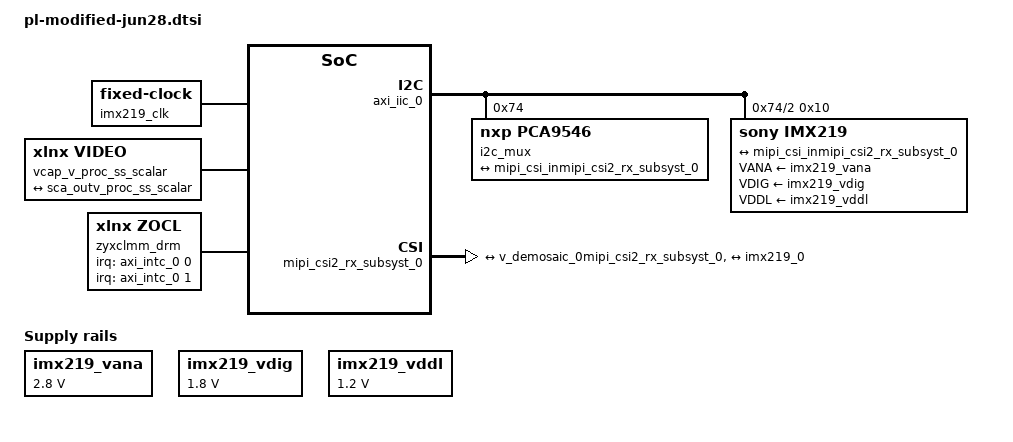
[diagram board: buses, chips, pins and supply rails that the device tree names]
/dts-v1/;
/plugin/;
&fpga_full {
	#address-cells = <2>;
	#size-cells = <2>;
	firmware-name = "kria_mipi_isp_platform_v1_2_j25.bit.bin";
	resets = <&zynqmp_reset 116>, <&zynqmp_reset 117>, <&zynqmp_reset 118>, <&zynqmp_reset 119>;
	};

&amba {	
	misc_clk_0: misc_clk_0 {
		clock-div = <1000>;
		compatible = "fixed-factor-clock";
		clock-mult = <2000>;
		clocks = <&zynqmp_clk 71>;
		#clock-cells = <0>;
	};
	misc_clk_1: misc_clk_1 {
		clock-div = <1000>;
		compatible = "fixed-factor-clock";
		clock-mult = <1000>;
		clocks = <&zynqmp_clk 71>;
		#clock-cells = <0>;
	};
	misc_clk_2: misc_clk_2 {
		clock-div = <1000>;
		compatible = "fixed-factor-clock";
		clock-mult = <1140>;
		clocks = <&zynqmp_clk 71>;
		#clock-cells = <0>;
	};
	clocking1: clocking1 {
		compatible = "xlnx,fclk";
		assigned-clocks = <&zynqmp_clk 72>;
		assigned-clock-rates = <99999001>;
		#clock-cells = <0>;
		clock-output-names = "fabric_clk";
		clocks = <&zynqmp_clk 72>;
	};
	clocking0: clocking0 {
		compatible = "xlnx,fclk";
		assigned-clocks = <&zynqmp_clk 71>;
		assigned-clock-rates = <99999001>;
		#clock-cells = <0>;
		clock-output-names = "fabric_clk";
		clocks = <&zynqmp_clk 71>;
	};
	
	
	
		imx219_clk:camera-clk {
				compatible = "fixed-clock";
				#clock-cells = <0>;
				clock-frequency = <24000000>;
			};
		
		imx219_vana: fixedregulator@3 {
			compatible = "regulator-fixed";
			regulator-name = "imx219_vana";
			regulator-min-microvolt = <2800000>;
			regulator-max-microvolt = <2800000>;
			enable-active-high;
		};

		imx219_vdig: fixedregulator@4 {
			compatible = "regulator-fixed";
			regulator-name = "imx219_vdig";
			regulator-min-microvolt = <1800000>;
			regulator-max-microvolt = <1800000>;
		};

		imx219_vddl: fixedregulator@5 {
			compatible = "regulator-fixed";
			regulator-name = "imx219_vddl";
			regulator-min-microvolt = <1200000>;
			regulator-max-microvolt = <1200000>;
		};	
	
	
	afi0: afi0 {
		compatible = "xlnx,afi-fpga";
		resets = <&zynqmp_reset 116>, <&zynqmp_reset 117>, <&zynqmp_reset 118>, <&zynqmp_reset 119>;
		config-afi = < 0 0>, <1 0>, <2 0>, <3 0>, <4 0>, <5 0>, <6 0>, <7 0>, <8 0>, <9 0>, <10 0>, <11 0>, <12 0>, <13 0>, <14 0xa00>, <15 0x000>;
	};



	axi_intc_0: interrupt-controller@80000000 {
		#interrupt-cells = <2>;
		interrupts = < 0 89 4 >;
		xlnx,sense-of-irq-edge-type = "Rising";
		xlnx,edk-special = "INTR_CTRL";
		xlnx,kind-of-intr = <0x0>;
		xlnx,kind-of-edge = <0xffffffff>;
		xlnx,irq-is-level = <1>;
		xlnx,has-ivr = <1>;
		compatible = "xlnx,axi-intc-4.1" , "xlnx,xps-intc-1.00.a";
		xlnx,disable-synchronizers = <0>;
		xlnx,kind-of-lvl = <0xffffffff>;
		xlnx,ivar-reset-value = <0x10>;
		xlnx,irq-active = <0x1>;
		interrupt-parent = <&gic>;
		xlnx,en-cascade-mode = <0>;
		xlnx,ip-name = "axi_intc";
		xlnx,has-ilr = <0>;
		reg = <0x0 0x80000000 0x0 0x10000>;
		xlnx,addr-width = <0x20>;
		clocks = <&misc_clk_0>;
		xlnx,s-axi-aclk-freq-mhz = <0xbebba30>;
		xlnx,num-sw-intr = <0>;
		xlnx,irq-connection = <1>;
		xlnx,num-intr-inputs = <0x5>;
		xlnx,has-sie = <1>;
		xlnx,enable-async = <0>;
		xlnx,has-cie = <1>;
		xlnx,num-sync-ff = <2>;
		xlnx,edk-iptype = "PERIPHERAL";
		xlnx,mb-clk-not-connected = <1>;
		xlnx,has-ipr = <1>;
		xlnx,sense-of-irq-level-type = "Active_High";
		xlnx,cascade-master = <0>;
		xlnx,processor-clk-freq-mhz = <100>;
		xlnx,is-fast = <0x0>;
		clock-names = "s_axi_aclk";
		xlnx,has-fast = <0>;
		xlnx,ivar-rst-val = <0x10>;
		interrupt-controller;
		interrupt-names = "irq";
		xlnx,async-intr = <0xffffffe1>;
		xlnx,name = "axi_intc_0";
	};
	axi_iic_0: i2c@80060000 {
		interrupts = < 4 2 >;
		xlnx,iic-freq-khz = <100>;
		compatible = "xlnx,axi-iic-2.1" , "xlnx,xps-iic-2.00.a";
		xlnx,scl-inertial-delay = <0>;
		interrupt-parent = <&axi_intc_0>;
		xlnx,ip-name = "axi_iic";
		xlnx,disable-setup-violation-check = <0>;
		reg = <0x0 0x80060000 0x0 0x10000>;
		clocks = <&misc_clk_0>;
		xlnx,gpo-width = <1>;
		xlnx,edk-iptype = "PERIPHERAL";
		xlnx,static-timing-reg-width = <0>;
		xlnx,sda-level = <1>;
		clock-names = "s_axi_aclk";
		xlnx,use-board-flow;
		xlnx,ten-bit-adr = <0>;
		xlnx,default-value = <0x0>;
		interrupt-names = "iic2intc_irpt";
		xlnx,iic-board-interface = "som240_1_connector_hda_iic_switch";
		xlnx,timing-reg-width = <32>;
		xlnx,iic-freq = <100000>;
		xlnx,smbus-pmbus-host = <0>;
		xlnx,name = "axi_iic_0";
		xlnx,axi-aclk-freq-mhz = <0xbebba30>;
		xlnx,sda-inertial-delay = <0>;
		
			i2c_mux: i2c-mux@74 {
			compatible = "nxp,pca9546";
			#address-cells = <1>;
			#size-cells = <0>;
			reg = <0x74>;

			i2c@2 {
				#address-cells = <1>;
				#size-cells = <0>;
				reg = <2>;
				imx219: sensor@10 {
					compatible = "sony,imx219";
					reg = <0x10>;
					clocks = <&imx219_clk>;
					VANA-supply = <&imx219_vana>;   /* 2.8v */
					VDIG-supply = <&imx219_vdig>;   /* 1.8v */
					VDDL-supply = <&imx219_vddl>;   /* 1.2v */
					//reset-gpios = <&axi_gpio 2 0 0>;

					port {
					     imx219_0: endpoint {
						remote-endpoint = <&mipi_csi_inmipi_csi2_rx_subsyst_0>;
						data-lanes = <1 2>;
						link-frequencies = /bits/ 64 <456000000>;
						};
					};
				};
			};
		};
	};
	mipi_csi2_rx_subsyst_0: mipi_csi2_rx_subsystem@80010000 {
		xlnx,data-lane2-byte = "All_Byte";
		xlnx,dpy-en-reg-if = <0>;
		xlnx,cmn-vc = <4>;
		xlnx,dphy-lanes = <2>;
		xlnx,ip-name = "mipi_csi2_rx_subsystem";
		reg = <0x0 0x80010000 0x0 0x1000>;
		xlnx,vfb-tu-width = <1>;
		xlnx,ppc = <2>;
		xlnx,csi-buf-depth = <4096>;
		xlnx,exdes-fmc = "LI-IMX274MIPI-FMC , V1.0 , Single , Sensor";
		xlnx,supportlevel = <1>;
		xlnx,clk-lane-io-loc-name = "IO_L13P_T2L_N0_GC_QBC_66";
		xlnx,max-lanes = <2>;
		xlnx,cmn-inc-iic = <0>;
		xlnx,clk-lane-io-loc = "D7";
		xlnx,esc-timeout = <25600>;
		interrupt-names = "csirxss_csi_irq";
		xlnx,cmn-inc-vfb;
		xlnx,axis-tuser-width = <96>;
		compatible = "xlnx,mipi-csi2-rx-subsystem-6.0" , "xlnx,mipi-csi2-rx-subsystem-5.0";
		xlnx,en-active-lanes;
		xlnx,idly-tap = <1>;
		xlnx,cmn-num-pixels = <2>;
		xlnx,cmn-proj-family = <1>;
		xlnx,csi2rx-dbg = <0>;
		xlnx,fifo-rd-en-control;
		xlnx,vfb;
		interrupt-parent = <&axi_intc_0>;
		xlnx,data-lane1-io-loc-name = "IO_L15P_T2L_N4_AD11P_66";
		xlnx,hs-timeout = <65541>;
		xlnx,data-lane3-io-loc-name = "None";
		xlnx,ext-mmcm = <0>;
		xlnx,data-lane1-byte = "All_Byte";
		xlnx,master-riu;
		xlnx,cal-mode = "NONE";
		xlnx,mipi-rx-phy-mode = <1>;
		xlnx,data-lane0-io-position = <28>;
		xlnx,exdes-board = "ZCU102";
		xlnx,use-board-flow;
		xlnx,data-lane2-io-position = <6>;
		xlnx,vc = <4>;
		xlnx,en-vcx = <0>;
		xlnx,name = "mipi_csi2_rx_subsyst_0";
		xlnx,csi-emb-non-img = <0>;
		interrupts = < 0 2 >;
		xlnx,dphyrx-board-interface = "som240_1_connector_mipi_csi_raspi";
		xlnx,data-lane3-io-loc = "None";
		xlnx,clock-mask = <39>;
		xlnx,hs-settle-ns = <145>;
		clocks = <&misc_clk_0>, <&misc_clk_1>, <&misc_clk_0>;
		xlnx,data-lane2-io-loc = "None";
		xlnx,mipi-slv-int = <0>;
		xlnx,cmn-fifo-rd-en-cntrl;
		xlnx,data-lane3-byte = "All_Byte";
		xlnx,stretch-line-rate = <4500>;
		xlnx,axis-tdest-width = <4>;
		xlnx,phy-mode = "DPHY";
		xlnx,en-csi-v2 = <0>;
		xlnx,edk-iptype = "PERIPHERAL";
		xlnx,init = <100000>;
		xlnx,cmn-pxl-format = <0x2b>;
		xlnx,int-qor-check = <0>;
		clock-names = "dphy_clk_200M" , "lite_aclk" , "video_aclk";
		xlnx,data-lane1-io-loc = "G6";
		xlnx,data-lane0-byte = "All_Byte";
		xlnx,ooc-vid-clk = <0x65b710>;
		csirx-present = <1>;
		xlnx,yuv420-buf-dpth = <128>;
		xlnx,hp-io-bank-selection = <66>;
		xlnx,idly-group-name = "mipi_csi2rx_idly_group";
		xlnx,lprx-disable-extport = <0>;
		xlnx,highaddr = <0x80010fff>;
		xlnx,cmn-num-lanes = <2>;
		xlnx,exdes-config = "MIPI_Video_Pipe_Camera_to_Display";
		xlnx,exdesboard-version = <2>;
		xlnx,dphy-preset = "CSI2RX_XLNX";
		xlnx,data-lane0-io-loc-name = "IO_L14P_T2L_N2_GC_66";
		xlnx,csi-pxl-format = <0x2b>;
		xlnx,clk-lane-io-position = <26>;
		xlnx,data-lane2-io-loc-name = "None";
		xlnx,data-lane0-io-loc = "E5";
		xlnx,inc-phy;
		xlnx,hs-line-rate = <800>;
		xlnx,dpy-line-rate = <912>;
		xlnx,csi-en-crc = <1>;
		xlnx,axis-tdata-width = <32>;
		xlnx,csi-controller-reg-if;
		xlnx,data-lane1-io-position = <30>;
		xlnx,dphy-mode = "SLAVE";
		xlnx,data-lane3-io-position = <8>;
		mipi_csi_portsmipi_csi2_rx_subsyst_0: ports {
			#address-cells = <1>;
			#size-cells = <0>;
			mipi_csi_port1mipi_csi2_rx_subsyst_0: port@1 {
				xlnx,video-width = <10>;
				reg = <1>;
				//xlnx,video-format = <12>;
				//xlnx,cfa-pattern = "rggb";
				mipi_csirx_outmipi_csi2_rx_subsyst_0: endpoint {
					remote-endpoint = <&v_demosaic_0mipi_csi2_rx_subsyst_0>;
				};
			};
			mipi_csi_port0mipi_csi2_rx_subsyst_0: port@0 {
				xlnx,video-width = <10>;
				reg = <0>;
				//xlnx,video-format = <12>;
				//xlnx,cfa-pattern = "rggb";
				mipi_csi_inmipi_csi2_rx_subsyst_0: endpoint {
					data-lanes = < 1 2 >;
					remote-endpoint = <&imx219_0>;
				};
			};
		};
	};
	v_demosaic_0: v_demosaic@80020000 {
		interrupts = < 1 2 >;
		compatible = "xlnx,v-demosaic-1.1" , "xlnx,v-demosaic";
		xlnx,max-width = <3840>;
		reset-gpios = <&gpio 78 1>;
		xlnx,max-height = <2160>;
		interrupt-parent = <&axi_intc_0>;
		xlnx,max-rows = <2160>;
		xlnx,use-uram = <0>;
		xlnx,ip-name = "v_demosaic";
		reg = <0x0 0x80020000 0x0 0x10000>;
		clocks = <&misc_clk_0>;
		xlnx,s-axi-ctrl-addr-width = <6>;
		xlnx,enable-zipper-removal;
		xlnx,samples-per-clock = <2>;
		xlnx,max-data-width = <10>;
		xlnx,edk-iptype = "PERIPHERAL";
		xlnx,max-cols = <3840>;
		clock-names = "ap_clk";
		xlnx,algorithm = <0>;
		interrupt-names = "interrupt";
		xlnx,s-axi-ctrl-data-width = <32>;
		xlnx,name = "v_demosaic_0";
		demosaic_portsv_demosaic_0: ports {
			#address-cells = <1>;
			#size-cells = <0>;
			demosaic_port1v_demosaic_0: port@1 {
				reg = <1>;
				xlnx,video-width = <10>;
				demo_outv_demosaic_0: endpoint {
					remote-endpoint = <&v_gamma_lut_0v_demosaic_0>;
				};
			};
			demosaic_port0v_demosaic_0: port@0 {
				reg = <0>;
				xlnx,video-width = <10>;
				v_demosaic_0mipi_csi2_rx_subsyst_0: endpoint {
					remote-endpoint = <&mipi_csirx_outmipi_csi2_rx_subsyst_0>;
				};
			};
		};
	};
	v_frmbuf_wr_0: v_frmbuf_wr@80030000 {
		xlnx,has-y-uv8 = <0>;
		reset-gpios = <&gpio 82 1>;
		xlnx,max-height = <2160>;
		xlnx,has-bgra8 = <0>;
		xlnx,has-rgba8 = <0>;
		xlnx,ip-name = "v_frmbuf_wr";
		reg = <0x0 0x80030000 0x0 0x10000>;
		xlnx,s-axi-ctrl-addr-width = <0x7>;
		xlnx,pixels-per-clock = <2>;
		xlnx,samples-per-clock = <2>;
		xlnx,max-nr-planes = <3>;
		xlnx,has-bgr8 = <1>;
		xlnx,has-rgb8 = <1>;
		xlnx,has-y-uv8-420 = <1>;
		xlnx,has-yuyv8 = <0>;
		xlnx,has-y-u-v8 = <0>;
		interrupt-names = "interrupt";
		compatible = "xlnx,v-frmbuf-wr-3.0" , "xlnx,axi-frmbuf-wr-v2.2";
		xlnx,max-width = <3840>;
		xlnx,has-rgb16 = <0>;
		xlnx,vid-formats = "rgb888" , "bgr888" , "xbgr8888" , "xrgb8888" , "xbgr2101010" , "vuy888" , "xvuy8888" , "nv12" , "y_u_v10";
		xlnx,has-bgrx8 = <1>;
		xlnx,has-rgbx8 = <1>;
		xlnx,has-rgbx10 = <1>;
		interrupt-parent = <&axi_intc_0>;
		xlnx,aximm-num-outstanding = <4>;
		xlnx,has-uyvy8 = <0>;
		xlnx,use-uram = <0>;
		xlnx,has-rgbx12 = <0>;
		xlnx,aximm-burst-length = <16>;
		xlnx,aximm-addr-width = <32>;
		xlnx,video-width = <10>;
		xlnx,max-cols = <3840>;
		xlnx,has-yuv8 = <1>;
		xlnx,has-y-uv10-420 = <0>;
		xlnx,has-yuva8 = <0>;
		xlnx,has-y-uv12-420 = <0>;
		xlnx,name = "v_frmbuf_wr_0";
		interrupts = < 3 2 >;
		xlnx,has-y10 = <0>;
		xlnx,has-y-uv16-420 = <0>;
		xlnx,has-y12 = <0>;
		xlnx,has-alpha = <0>;
		xlnx,has-y-u-v10 = <1>;
		clocks = <&misc_clk_0>;
		xlnx,has-y16 = <0>;
		xlnx,dma-align = <16>;
		xlnx,has-y-u-v12 = <0>;
		xlnx,edk-iptype = "PERIPHERAL";
		xlnx,has-interlaced = <0>;
		xlnx,has-yuv16 = <0>;
		xlnx,has-yuvx8 = <1>;
		xlnx,is-tile-format = <0>;
		xlnx,dma-addr-width = <32>;
		clock-names = "ap_clk";
		xlnx,s-axi-ctrl-data-width = <0x20>;
		xlnx,has-y8 = <0>;
		xlnx,has-y-uv10 = <0>;
		xlnx,has-y-uv12 = <0>;
		xlnx,max-rows = <2160>;
		xlnx,has-yuvx10 = <0>;
		#dma-cells = <1>;
		xlnx,has-yuvx12 = <0>;
		xlnx,has-y-uv16 = <0>;
		xlnx,max-data-width = <10>;
		xlnx,has-y-u-v8-420 = <0>;
		xlnx,num-video-components = <3>;
		xlnx,aximm-data-width = <128>;
	};
	v_gamma_lut_0: v_gamma_lut@80040000 {
		interrupts = < 2 2 >;
		compatible = "xlnx,v-gamma-lut-1.1" , "xlnx,v-gamma-lut";
		xlnx,max-width = <3840>;
		reset-gpios = <&gpio 79 1>;
		xlnx,max-height = <2160>;
		interrupt-parent = <&axi_intc_0>;
		xlnx,max-rows = <2160>;
		xlnx,ip-name = "v_gamma_lut";
		reg = <0x0 0x80040000 0x0 0x10000>;
		clocks = <&misc_clk_0>;
		xlnx,s-axi-ctrl-addr-width = <13>;
		xlnx,max-data-width = <10>;
		xlnx,samples-per-clock = <2>;
		xlnx,edk-iptype = "PERIPHERAL";
		xlnx,max-cols = <3840>;
		clock-names = "ap_clk";
		interrupt-names = "interrupt";
		xlnx,s-axi-ctrl-data-width = <32>;
		xlnx,name = "v_gamma_lut_0";
		gamma_portsv_gamma_lut_0: ports {
			#address-cells = <1>;
			#size-cells = <0>;
			gamma_port1v_gamma_lut_0: port@1 {
				xlnx,video-width = <10>;
				reg = <1>;
				xlnx,video-format = <2>;
				gamma_outv_gamma_lut_0: endpoint {
					remote-endpoint = <&v_proc_ss_cscv_gamma_lut_0>;
				};
			};
			gamma_port0v_gamma_lut_0: port@0 {
				xlnx,video-width = <10>;
				reg = <0>;
				xlnx,video-format = <2>;
				v_gamma_lut_0v_demosaic_0: endpoint {
					remote-endpoint = <&demo_outv_demosaic_0>;
				};
			};
		};
	};
	v_proc_ss_csc: v_proc_ss@80050000 {
		xlnx,v-chroma-taps = <4>;
		xlnx,h-chroma-algorithm = <2>;
		hcrsmplr-present = <0>;
		reset-gpios = <&gpio 80 1>;
		xlnx,max-height = <2160>;
		rstaxis-present = <0>;
		vscale-present = <0>;
		xlnx,ip-name = "v_proc_ss";
		xlnx,enable-interlaced;
		reg = <0x0 0x80050000 0x0 0x10000>;
		hscale-present = <0>;
		xlnx,deint-motion-adaptive;
		xlnx,h-scaler-taps = <6>;
		deint-present = <0>;
		xlnx,topology = <3>;
		xlnx,chroma-algorithm = <2>;
		compatible = "xlnx,v-proc-ss-2.3" , "xlnx,v-vpss-csc";
		xlnx,csc-enable-window =  "true";
		xlnx,max-width = <3840>;
		xlnx,aximm-num-outstanding = <16>;
		xlnx,vdma-aximm-addr-width = <32>;
		xlnx,use-uram = <0>;
		xlnx,aximm-burst-length = <16>;
		xlnx,aximm-addr-width = <32>;
		xlnx,v-scaler-taps = <6>;
		xlnx,scaler-enable-422;
		xlnx,video-width = <10>;
		xlnx,max-cols = <3840>;
		xlnx,colorspace-support = <0>;
		xlnx,read-fifo-depth = <128>;
		vdma-present = <0>;
		xlnx,name = "v_proc_ss_csc";
		xlnx,csc-enable-422;
		xlnx,scaler-algorithm = <2>;
		xlnx,v-scaler-phases = <64>;
		clocks = <&misc_clk_0>;
		xlnx,edk-iptype = "PERIPHERAL";
		rstaximm-present = <0>;
		lbox-present = <0>;
		clock-names = "aclk";
		router-present = <0>;
		xlnx,highaddr = <0x8005ffff>;
		xlnx,h-chroma-taps = <4>;
		xlnx,max-rows = <2160>;
		xlnx,h-scaler-phases = <64>;
		xlnx,max-data-width = <10>;
		xlnx,enable-dma;
		xlnx,write-fifo-depth = <128>;
		xlnx,num-video-components = <3>;
		xlnx,aximm-data-width = <128>;
		xlnx,samples-per-clk = <2>;
		xlnx,v-chroma-algorithm = <2>;
		csc-present = <1>;
		csc_portsv_proc_ss_csc: ports {
			#address-cells = <1>;
			#size-cells = <0>;
			csc_port1v_proc_ss_csc: port@1 {
				xlnx,video-width = <8>;
				reg = <1>;
				xlnx,video-format = <3>;
				csc_outv_proc_ss_csc: endpoint {
					remote-endpoint = <&v_proc_ss_scalarv_proc_ss_csc>;
				};
			};
			csc_port0v_proc_ss_csc: port@0 {
				xlnx,video-width = <8>;
				reg = <0>;
				xlnx,video-format = <3>;
				v_proc_ss_cscv_gamma_lut_0: endpoint {
					remote-endpoint = <&gamma_outv_gamma_lut_0>;
				};
			};
		};
	};
	v_proc_ss_scalar: v_proc_ss@80080000 {
		xlnx,v-chroma-taps = <4>;
		xlnx,h-chroma-algorithm = <2>;
		hcrsmplr-present = <0>;
		reset-gpios = <&gpio 81 1>;
		xlnx,max-height = <2160>;
		rstaxis-present = <1>;
		vscale-present = <1>;
		xlnx,ip-name = "v_proc_ss";
		xlnx,enable-interlaced;
		reg = <0x0 0x80080000 0x0 0x40000>;
		hscale-present = <1>;
		xlnx,deint-motion-adaptive;
		xlnx,num-hori-taps = <6>;
		xlnx,h-scaler-taps = <6>;
		deint-present = <0>;
		xlnx,topology = <0>;
		xlnx,chroma-algorithm = <2>;
		compatible = "xlnx,v-proc-ss-2.3" , "xlnx,v-vpss-scaler-2.2";
		xlnx,csc-enable-window =  "true";
		xlnx,max-width = <3840>;
		xlnx,aximm-num-outstanding = <16>;
		xlnx,vdma-aximm-addr-width = <32>;
		xlnx,use-uram = <0>;
		xlnx,aximm-burst-length = <16>;
		xlnx,aximm-addr-width = <32>;
		xlnx,v-scaler-taps = <6>;
		xlnx,scaler-enable-422;
		xlnx,video-width = <10>;
		xlnx,max-cols = <3840>;
		xlnx,colorspace-support = <0>;
		xlnx,read-fifo-depth = <128>;
		vdma-present = <0>;
		xlnx,name = "v_proc_ss_scalar";
		xlnx,csc-enable-422 =  "true";
		xlnx,num-vert-taps = <6>;
		xlnx,pix-per-clk = <2>;
		xlnx,enable-csc = "false";
		xlnx,scaler-algorithm = <2>;
		xlnx,v-scaler-phases = <64>;
		clocks = <&misc_clk_0>, <&misc_clk_0>;
		xlnx,max-num-phases = <64>;
		xlnx,edk-iptype = "PERIPHERAL";
		lbox-present = <0>;
		clock-names = "aclk_axis" , "aclk_ctrl";
		router-present = <0>;
		xlnx,highaddr = <0x800bffff>;
		xlnx,h-chroma-taps = <4>;
		xlnx,max-rows = <2160>;
		xlnx,h-scaler-phases = <64>;
		xlnx,max-data-width = <10>;
		xlnx,enable-dma;
		xlnx,write-fifo-depth = <128>;
		xlnx,num-video-components = <3>;
		xlnx,aximm-data-width = <128>;
		xlnx,samples-per-clk = <2>;
		xlnx,v-chroma-algorithm = <2>;
		csc-present = <0>;
		scaler_portsv_proc_ss_scalar: ports {
			#address-cells = <1>;
			#size-cells = <0>;
			scaler_port1v_proc_ss_scalar: port@1 {
				xlnx,video-width = <10>;
				reg = <1>;
				xlnx,video-format = <3>;
				sca_outv_proc_ss_scalar: endpoint {
					remote-endpoint = <&v_frmbuf_wr_0v_proc_ss_scalar>;
				};
			};
			scaler_port0v_proc_ss_scalar: port@0 {
				xlnx,video-width = <10>;
				reg = <0>;
				xlnx,video-format = <3>;
				v_proc_ss_scalarv_proc_ss_csc: endpoint {
					remote-endpoint = <&csc_outv_proc_ss_csc>;
				};
			};
		};
	};
	
	vcap_v_proc_ss_scalar {
		compatible = "xlnx,video";
		dmas = <&v_frmbuf_wr_0 0>;
		dma-names = "port0";
		vcap_portsv_proc_ss_scalar: ports {
			#address-cells = <1>;
			#size-cells = <0>;
			vcap_portv_proc_ss_scalar: port@0 {
				direction = "input";
				reg = <0>;
				v_frmbuf_wr_0v_proc_ss_scalar: endpoint {
					remote-endpoint = <&sca_outv_proc_ss_scalar>;
				};
			};
		};
	};
	
		zyxclmm_drm {
		compatible = "xlnx,zocl";
		interrupts-extended = <&axi_intc_0 0 4>, <&axi_intc_0 1 4>, <&axi_intc_0 2 4>, <&axi_intc_0 3 4>, <&axi_intc_0 4 4>, <&axi_intc_0 5 4>, <&axi_intc_0 6 4>, <&axi_intc_0 7 4>, <&axi_intc_0 8 4>, <&axi_intc_0 9 4>, <&axi_intc_0 10 4>, <&axi_intc_0 11 4>, <&axi_intc_0 12 4>, <&axi_intc_0 13 4>, <&axi_intc_0 14 4>, <&axi_intc_0 15 4>, <&axi_intc_0 16 4>, <&axi_intc_0 17 4>, <&axi_intc_0 18 4>, <&axi_intc_0 19 4>, <&axi_intc_0 20 4>, <&axi_intc_0 21 4>, <&axi_intc_0 22 4>, <&axi_intc_0 23 4>, <&axi_intc_0 24 4>, <&axi_intc_0 25 4>, <&axi_intc_0 26 4>, <&axi_intc_0 27 4>, <&axi_intc_0 28 4>, <&axi_intc_0 29 4>, <&axi_intc_0 30 4>, <&axi_intc_0 31 4>;
	};
};
